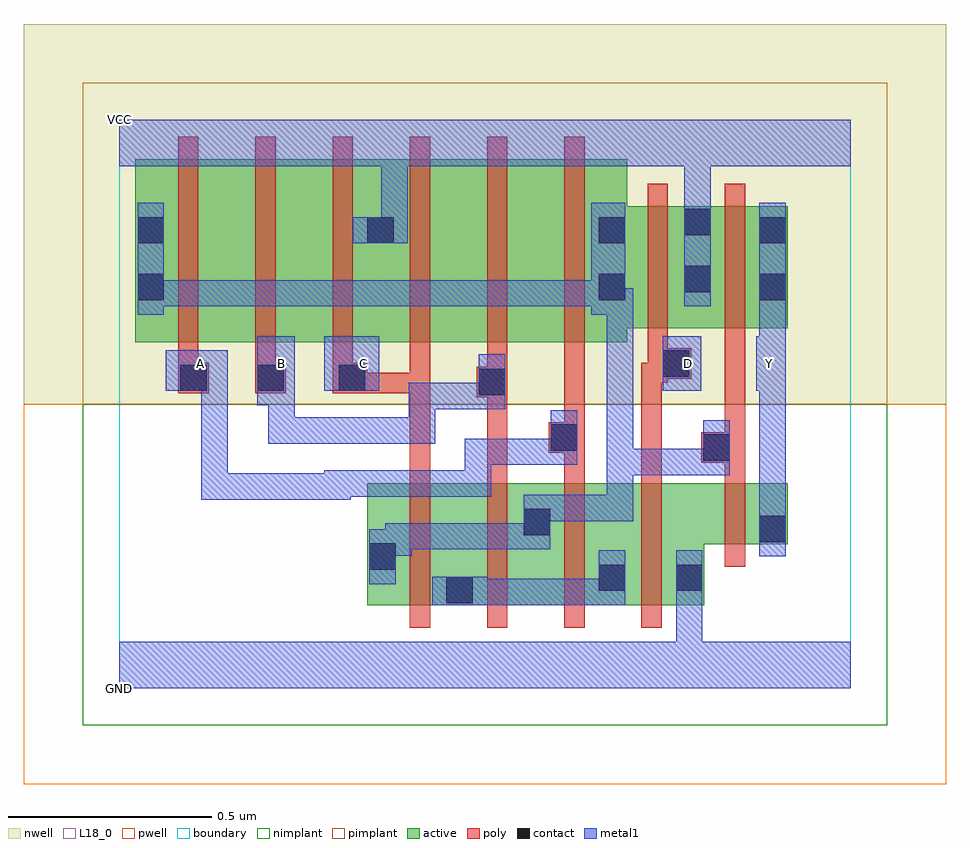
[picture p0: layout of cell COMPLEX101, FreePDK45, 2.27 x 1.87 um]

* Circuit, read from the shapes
.subckt COMPLEX101 A B C D GND VCC Y
M1 n1 C n2 VSUBS nfet w=0.3u l=0.05u
M2 n2 B n1 VSUBS nfet w=0.3u l=0.05u
M3 n1 A n2 VSUBS nfet w=0.3u l=0.05u
M4 GND D n1 VSUBS nfet w=0.3u l=0.05u
M5 Y n2 GND VSUBS nfet w=0.15u l=0.05u
M6 n3 A n2 n4 pfet w=0.45u l=0.05u
M7 n5 B n3 n4 pfet w=0.45u l=0.05u
M8 VCC C n5 n4 pfet w=0.45u l=0.05u
M9 n6 C VCC n4 pfet w=0.45u l=0.05u
M10 n7 B n6 n4 pfet w=0.45u l=0.05u
M11 n2 A n7 n4 pfet w=0.45u l=0.05u
M12 VCC D n2 n4 pfet w=0.3u l=0.05u
M13 Y n2 VCC n4 pfet w=0.3u l=0.05u
.ends

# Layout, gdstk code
import gdstk
lib = gdstk.Library(unit=1e-6, precision=1e-09)
def R(c, l, rs):  # rectangles x0, y0, x1, y1
    for r in rs: c.add(gdstk.rectangle(r[:2], r[2:], *l))
def A(c, l, x, y, w, h, nx, ny, dx, dy):  # array of equal rectangles
    R(c, l, [(x+i*dx, y+j*dy, x+i*dx+w, y+j*dy+h) for i in range(nx) for j in range(ny)])
active = (1, 0)
pwell = (2, 0)
nwell = (3, 0)
nimplant = (4, 0)
pimplant = (5, 0)
poly = (9, 0)
contact = (10, 0)
metal1 = (11, 0)
L18_0 = (18, 0)
boundary = (235, 0)

complex101 = lib.new_cell('COMPLEX101')
R(complex101, active, [(0.61,0.205,0.875,0.505), (0.8,0.205,1.065,0.505), (0.8,0.205,0.875,0.392), (0.99,0.205,1.25,0.505), (1.175,0.205,1.44,0.505), (1.175,0.205,1.25,0.392), (1.365,0.235,1.44,0.355), (0.61,0.287,0.685,0.505), (0.99,0.33,1.065,0.447), (1.365,0.355,1.645,0.505), (1.57,0.355,1.645,0.505), (0.04,0.852,0.265,1.302), (0.04,0.852,0.145,1.2), (0.265,0.852,0.455,1.302), (0.455,0.852,0.68,1.302), (0.605,0.852,0.835,1.302), (0.835,0.852,1.025,1.302), (1.025,0.852,1.25,1.302), (0.605,0.857,0.68,1.302), (1.175,0.887,1.46,1.187), (1.175,0.887,1.25,1.2), (1.385,0.887,1.645,1.187), (1.385,0.887,1.46,1.185), (1.57,0.887,1.645,1.165)])
R(complex101, pwell, [(-0.235,-0.235,2.035,0.7)])
R(complex101, nwell, [(-0.235,0.7,2.035,1.635)])
R(complex101, nimplant, [(-0.09,-0.09,1.89,0.7)])
R(complex101, pimplant, [(-0.09,0.7,1.89,1.49)])
A(complex101, poly, 0.715, 0.15, 0.05, 0.41, 4, 1, 0.19, 0)
A(complex101, poly, 0.145, 0.752, 0.05, 0.095, 3, 1, 0.19, 0)
A(complex101, poly, 0.145, 0.797, 0.05, 0.56, 6, 1, 0.19, 0)
R(complex101, poly, [(1.49,0.3,1.54,0.56), (0.715,0.51,0.765,0.777), (0.905,0.51,0.955,0.767), (1.095,0.51,1.145,0.63), (1.285,0.51,1.335,0.802), (1.49,0.51,1.54,0.605), (1.432,0.555,1.54,0.63), (1.057,0.58,1.145,0.655), (1.49,0.58,1.54,0.882), (1.49,0.58,1.54,0.63), (1.49,0.58,1.54,0.63), (1.095,0.605,1.145,0.655), (1.095,0.605,1.145,0.655), (1.095,0.605,1.145,0.847), (0.88,0.717,0.955,0.792), (0.145,0.727,0.22,0.802), (0.335,0.727,0.41,0.802), (0.525,0.727,0.61,0.802), (0.56,0.727,0.61,0.777), (0.56,0.727,0.61,0.777), (0.56,0.727,0.765,0.777), (0.715,0.727,0.765,0.777), (0.715,0.727,0.765,0.777), (0.715,0.727,0.765,0.777), (0.715,0.727,0.765,0.847), (0.905,0.742,0.955,0.792), (0.905,0.742,0.955,0.792), (0.905,0.742,0.955,0.847), (0.145,0.752,0.195,0.802), (0.145,0.752,0.195,0.802), (0.335,0.752,0.385,0.802), (0.335,0.752,0.385,0.802), (1.285,0.752,1.35,0.802), (1.3,0.752,1.35,0.812), (1.3,0.762,1.407,0.837), (1.3,0.787,1.35,0.882), (1.3,0.832,1.35,1.242), (1.49,0.832,1.54,1.242)])
R(complex101, contact, [(0.805,0.21,0.87,0.275), (1.18,0.24,1.245,0.305), (1.37,0.24,1.435,0.305), (0.615,0.292,0.68,0.357), (1.575,0.36,1.64,0.425), (0.995,0.377,1.06,0.442), (1.437,0.56,1.502,0.625), (1.062,0.585,1.127,0.65), (0.885,0.722,0.95,0.787), (0.15,0.732,0.215,0.797), (0.34,0.732,0.405,0.797), (0.54,0.732,0.605,0.797), (1.337,0.767,1.402,0.832), (0.045,0.955,0.11,1.02), (1.18,0.955,1.245,1.02), (1.575,0.955,1.64,1.02), (1.39,0.975,1.455,1.04), (0.045,1.095,0.11,1.16), (0.61,1.095,0.675,1.16), (1.18,1.095,1.245,1.16), (1.575,1.095,1.64,1.16), (1.39,1.115,1.455,1.18)])
R(complex101, metal1, [(0,0,1.8,0.115), (1.37,0.05,1.435,0.27), (0.77,0.205,0.905,0.275), (0.84,0.205,0.952,0.27), (0.887,0.205,0.952,0.27), (0.887,0.205,1.09,0.27), (1.025,0.205,1.09,0.27), (1.025,0.205,1.09,0.27), (1.025,0.205,1.09,0.27), (1.025,0.205,1.245,0.27), (1.18,0.205,1.245,0.34), (1.37,0.205,1.435,0.27), (1.37,0.205,1.435,0.27), (1.37,0.205,1.435,0.34), (0.615,0.257,0.68,0.392), (1.575,0.325,1.64,0.46), (0.615,0.327,0.72,0.392), (0.655,0.327,0.72,0.407), (0.655,0.342,0.922,0.407), (0.857,0.342,0.922,0.407), (0.857,0.342,0.952,0.407), (0.887,0.342,0.952,0.407), (0.887,0.342,1.06,0.407), (0.995,0.342,1.06,0.477), (1.575,0.395,1.64,0.797), (0.995,0.412,1.227,0.477), (1.162,0.412,1.227,0.477), (1.162,0.412,1.265,0.477), (1.2,0.412,1.265,0.477), (1.2,0.412,1.265,0.477), (1.2,0.412,1.265,0.477), (1.2,0.412,1.265,0.59), (0.202,0.465,0.267,0.53), (0.202,0.465,0.432,0.53), (0.202,0.465,0.267,0.797), (0.367,0.465,0.432,0.53), (0.367,0.465,0.432,0.53), (0.367,0.465,0.432,0.53), (0.367,0.465,0.57,0.53), (0.505,0.465,0.57,0.53), (0.505,0.465,0.57,0.53), (0.505,0.465,0.57,0.537), (0.505,0.472,0.777,0.537), (0.712,0.472,0.777,0.537), (0.712,0.472,0.915,0.537), (0.85,0.472,0.915,0.57), (0.85,0.505,0.915,0.57), (0.85,0.505,0.915,0.615), (1.2,0.525,1.265,0.59), (1.2,0.525,1.365,0.59), (1.2,0.525,1.265,0.985), (1.3,0.525,1.365,0.59), (1.3,0.525,1.402,0.59), (1.337,0.525,1.402,0.59), (1.337,0.525,1.502,0.59), (1.437,0.525,1.502,0.66), (0.85,0.55,1.09,0.615), (1.025,0.55,1.09,0.615), (1.025,0.55,1.09,0.615), (1.025,0.55,1.09,0.615), (1.025,0.55,1.127,0.615), (1.062,0.55,1.127,0.685), (0.367,0.602,0.57,0.667), (0.367,0.602,0.432,0.762), (0.505,0.602,0.57,0.667), (0.505,0.602,0.57,0.667), (0.505,0.602,0.57,0.667), (0.505,0.602,0.777,0.667), (0.712,0.602,0.777,0.752), (0.712,0.687,0.922,0.752), (0.857,0.687,0.922,0.752), (0.857,0.687,0.95,0.752), (0.885,0.687,0.95,0.822), (0.34,0.697,0.432,0.867), (0.367,0.697,0.432,0.762), (0.115,0.732,0.267,0.832), (0.202,0.732,0.267,0.797), (0.202,0.732,0.267,0.797), (0.505,0.732,0.64,0.867), (1.337,0.732,1.432,0.867), (1.567,0.732,1.64,0.867), (1.575,0.802,1.64,0.985), (0.045,0.92,0.11,1.195), (1.162,0.92,1.245,1.195), (1.18,0.92,1.245,0.985), (1.18,0.92,1.265,0.985), (1.575,0.92,1.64,0.985), (1.575,0.92,1.64,0.985), (1.575,0.92,1.64,1.195), (0.045,0.94,0.11,1.005), (0.045,0.94,0.11,1.005), (0.045,0.94,0.295,1.005), (0.23,0.94,0.295,1.005), (0.23,0.94,0.432,1.005), (0.367,0.94,0.432,1.005), (0.367,0.94,0.432,1.005), (0.367,0.94,0.432,1.005), (0.367,0.94,0.582,1.005), (0.517,0.94,0.582,1.005), (0.517,0.94,0.582,1.005), (0.517,0.94,0.582,1.005), (0.517,0.94,0.72,1.005), (0.655,0.94,0.72,1.005), (0.655,0.94,0.895,1.005), (0.83,0.94,0.895,1.005), (0.83,0.94,0.915,1.005), (0.85,0.94,0.915,1.005), (0.85,0.94,1.06,1.005), (0.995,0.94,1.06,1.005), (0.995,0.94,1.227,1.005), (1.162,0.94,1.227,1.005), (1.162,0.94,1.227,1.005), (1.39,0.94,1.455,1.215), (0.575,1.095,0.71,1.16), (0.645,1.095,0.71,1.35), (1.39,1.15,1.455,1.35), (0,1.285,1.8,1.4), (1.39,1.285,1.455,1.35), (1.39,1.285,1.455,1.35)])
A(complex101, L18_0, 0.167, 0.767, 0.065, 0.065, 3, 1, 0.2, 0)
R(complex101, L18_0, [(0,0,1.8,0.115), (1.37,0.05,1.435,0.27), (1.37,0.205,1.435,0.27), (1.37,0.205,1.435,0.27), (1.37,0.205,1.435,0.34), (1.575,0.325,1.64,0.46), (1.575,0.395,1.64,0.797), (0.202,0.465,0.267,0.53), (0.202,0.465,0.267,0.797), (0.202,0.465,0.432,0.53), (0.367,0.465,0.432,0.53), (0.367,0.465,0.432,0.53), (0.367,0.465,0.432,0.53), (0.367,0.465,0.57,0.53), (0.505,0.465,0.57,0.53), (0.505,0.465,0.57,0.53), (0.505,0.465,0.57,0.537), (0.505,0.472,0.777,0.537), (0.712,0.472,0.777,0.537), (0.712,0.472,0.915,0.537), (0.85,0.472,0.915,0.57), (0.85,0.505,0.915,0.57), (0.85,0.505,0.915,0.615), (0.85,0.55,1.09,0.615), (1.025,0.55,1.09,0.615), (1.025,0.55,1.09,0.615), (1.025,0.55,1.09,0.615), (1.025,0.55,1.127,0.615), (1.062,0.55,1.127,0.685), (0.367,0.602,0.432,0.762), (0.367,0.602,0.57,0.667), (0.505,0.602,0.57,0.667), (0.505,0.602,0.57,0.667), (0.505,0.602,0.57,0.667), (0.505,0.602,0.777,0.667), (0.712,0.602,0.777,0.752), (0.712,0.687,0.922,0.752), (0.857,0.687,0.922,0.752), (0.857,0.687,0.95,0.752), (0.885,0.687,0.95,0.822), (0.34,0.697,0.432,0.867), (0.367,0.697,0.432,0.762), (0.115,0.732,0.267,0.832), (0.202,0.732,0.267,0.797), (0.202,0.732,0.267,0.797), (0.505,0.732,0.64,0.867), (1.337,0.732,1.432,0.867), (1.567,0.732,1.64,0.867), (1.367,0.767,1.432,0.832), (1.567,0.767,1.632,0.832), (1.575,0.802,1.64,0.985), (1.575,0.92,1.64,0.985), (1.575,0.92,1.64,0.985), (1.575,0.92,1.64,1.195), (1.39,0.94,1.455,1.215), (0.575,1.095,0.71,1.16), (0.645,1.095,0.71,1.35), (1.39,1.15,1.455,1.35), (0,1.285,1.8,1.4), (1.39,1.285,1.455,1.35), (1.39,1.285,1.455,1.35)])
R(complex101, boundary, [(0,0,1.8,1.4)])
complex101.add(gdstk.Label('A', (0.2,0.8), layer=11, texttype=0))
complex101.add(gdstk.Label('B', (0.4,0.8), layer=11, texttype=0))
complex101.add(gdstk.Label('C', (0.6,0.8), layer=11, texttype=0))
complex101.add(gdstk.Label('D', (1.4,0.8), layer=11, texttype=0))
complex101.add(gdstk.Label('Y', (1.6,0.8), layer=11, texttype=0))
complex101.add(gdstk.Label('VCC', (0,1.4), layer=11, texttype=0))
complex101.add(gdstk.Label('GND', (0,0), layer=11, texttype=0))

lib.write_gds('COMPLEX101.gds')
